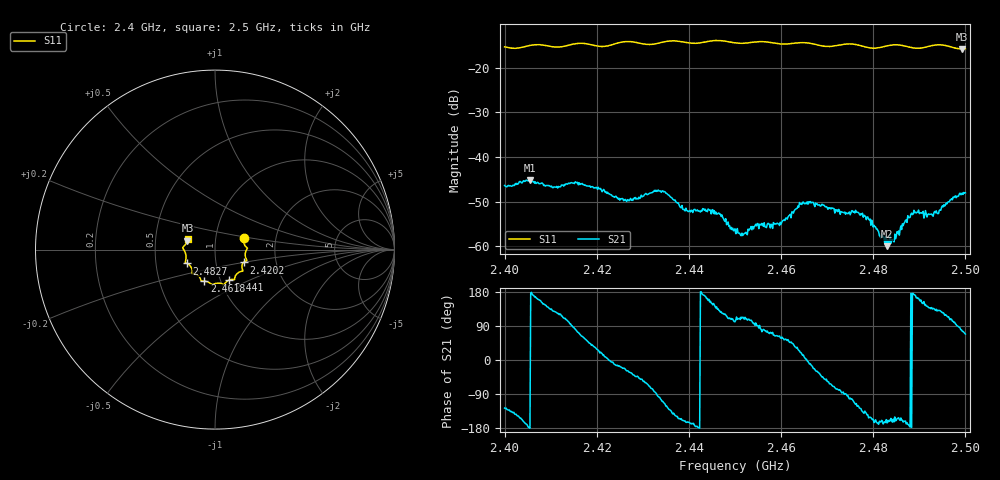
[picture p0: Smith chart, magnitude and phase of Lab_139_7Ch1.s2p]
# Hz S RI R 50
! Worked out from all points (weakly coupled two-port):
!   601 points, 2.4 GHz to 2.5 GHz, reference 50 ohm
!   highest |S21| = -45.12 dB at 2.4055 GHz (marker M1); lowest = -60.0 dB at 2.483 GHz (marker M2)
!   lowest |S11| = -15.8 dB at 2.4993 GHz (marker M3), VSWR 1.39, Z = 36.5 + j3.8 ohm
!   |S11| at or under -10 dB: start of sweep to end of sweep
!   S12 and S22 are empty: the file has one direction only
!   S11 on the Smith chart (normalised r, x): 2.4 GHz: 1.36, +0.18; 2.4202 GHz: 1.36, -0.20; 2.441 GHz: 1.10, -0.39; 2.4618 GHz: 0.84, -0.31; 2.4827 GHz: 0.72, -0.12; 2.5 GHz: 0.73, +0.09
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2.4e9  0.1589 0.0629  -0.00288 -0.00384  0 0  0 0
2.4055e9  0.1771 0.012  -0.00554 -1.72e-06  0 0  0 0
2.411e9  0.1695 -0.0165  -0.00277 0.00369  0 0  0 0
2.416667e9  0.1773 -0.0607  0.00224 0.00448  0 0  0 0
2.420167e9  0.1591 -0.0717  0.00384 0.00201  0 0  0 0
2.426333e9  0.156 -0.1183  0.00292 -0.00147  0 0  0 0
2.433333e9  0.1117 -0.1506  -0.000472 -0.00425  0 0  0 0
2.441e9  0.0789 -0.17  -0.00249 -0.000566  0 0  0 0
2.446333e9  0.049 -0.1955  -0.00165 0.00166  0 0  0 0
2.45e9  0.0284 -0.1873  -0.000301 0.00154  0 0  0 0
2.452167e9  0.00666 -0.1878  -0.000536 0.00129  0 0  0 0
2.461833e9  -0.0588 -0.1757  0.00153 0.00162  0 0  0 0
2.4645e9  -0.0753 -0.1751  0.00283 0.000801  0 0  0 0
2.466667e9  -0.079 -0.1684  0.00299 -0.000812  0 0  0 0
2.477833e9  -0.1271 -0.1175  -0.00158 -0.00141  0 0  0 0
2.482667e9  -0.1559 -0.0773  -0.00124 -0.000332  0 0  0 0
2.483e9  -0.1583 -0.076  -0.000975 -0.000242  0 0  0 0
2.483333e9  -0.1602 -0.075  -0.00103 -0.000317  0 0  0 0
2.488667e9  -0.1611 -0.0418  -0.00229 0.000207  0 0  0 0
2.492667e9  -0.1763 0.003  -0.00172 0.00153  0 0  0 0
2.499333e9  -0.1538 0.0506  0.00098 0.00383  0 0  0 0
2.5e9  -0.152 0.0601  0.00146 0.0037  0 0  0 0
